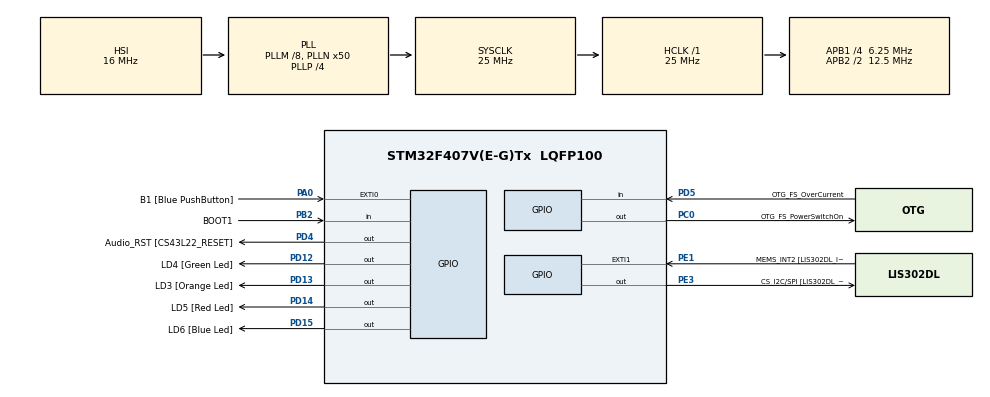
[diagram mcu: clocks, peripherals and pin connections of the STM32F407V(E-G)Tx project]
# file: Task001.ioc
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Mcu.Family=STM32F4
Mcu.Name=STM32F407V(E-G)Tx
Mcu.Package=LQFP100
NVIC.PriorityGroup=NVIC_PRIORITYGROUP_4
NVIC.TIM6_DAC_IRQn=true\:0\:0\:false\:false\:true\:false\:true\:true
NVIC.TimeBase=TIM6_DAC_IRQn
NVIC.TimeBaseIP=TIM6
PA0-WKUP.GPIO_Label=B1 [Blue PushButton]
PA0-WKUP.Signal=GPXTI0
PA10.GPIO_Label=OTG_FS_ID
PA10.GPIO_Mode=GPIO_MODE_AF_PP
PA10.GPIO_PuPd=GPIO_NOPULL
PA10.GPIO_Speed=GPIO_SPEED_FREQ_LOW
PA10.Signal=USB_OTG_FS_ID
PA11.GPIO_Label=OTG_FS_DM
PA11.GPIO_Mode=GPIO_MODE_AF_PP
PA11.GPIO_PuPd=GPIO_NOPULL
PA11.GPIO_Speed=GPIO_SPEED_FREQ_LOW
PA11.Signal=USB_OTG_FS_DM
PA12.GPIO_Label=OTG_FS_DP
PA12.GPIO_Mode=GPIO_MODE_AF_PP
PA12.GPIO_PuPd=GPIO_NOPULL
PA12.GPIO_Speed=GPIO_SPEED_FREQ_LOW
PA12.Signal=USB_OTG_FS_DP
PA13.GPIO_Label=SWDIO
PA13.Signal=SYS_JTMS-SWDIO
PA14.GPIO_Label=SWCLK
PA14.Signal=SYS_JTCK-SWCLK
PA4.GPIO_Label=I2S3_WS [CS43L22_LRCK]
PA4.GPIO_Mode=GPIO_MODE_AF_PP
PA4.GPIO_PuPd=GPIO_NOPULL
PA4.GPIO_Speed=GPIO_SPEED_FREQ_LOW
PA4.Signal=I2S3_WS
PA5.GPIO_Label=SPI1_SCK [LIS302DL_SCL/SPC]
PA5.GPIO_Mode=GPIO_MODE_AF_PP
PA5.GPIO_PuPd=GPIO_NOPULL
PA5.GPIO_Speed=GPIO_SPEED_FREQ_LOW
PA5.Signal=SPI1_SCK
PA6.GPIO_Label=SPI1_MISO [LIS302DL_SDO]
PA6.GPIO_Mode=GPIO_MODE_AF_PP
PA6.GPIO_PuPd=GPIO_NOPULL
PA6.GPIO_Speed=GPIO_SPEED_FREQ_LOW
PA6.Signal=SPI1_MISO
PA7.GPIO_Label=SPI1_MOSI [LIS302DL_SDA/SDI/SDO]
PA7.GPIO_Mode=GPIO_MODE_AF_PP
PA7.GPIO_PuPd=GPIO_NOPULL
PA7.GPIO_Speed=GPIO_SPEED_FREQ_LOW
PA7.Signal=SPI1_MOSI
PA9.GPIO_Label=VBUS_FS
PA9.GPIO_Mode=GPIO_MODE_INPUT
PA9.GPIO_PuPd=GPIO_NOPULL
PA9.Signal=USB_OTG_FS_VBUS
PB10.GPIO_Label=CLK_IN [MP45DT02_CLK]
PB10.GPIO_Mode=GPIO_MODE_AF_PP
PB10.GPIO_PuPd=GPIO_NOPULL
PB10.GPIO_Speed=GPIO_SPEED_FREQ_LOW
PB10.Signal=I2S2_CK
PB2.GPIO_Label=BOOT1
PB2.GPIO_Mode=GPIO_MODE_INPUT
PB2.GPIO_PuPd=GPIO_NOPULL
PB2.Signal=GPIO_Input
PB3.GPIO_Label=SWO
PB3.Signal=SYS_JTDO-SWO
PB6.GPIO_Label=Audio_SCL [CS43L22_SCL]
PB6.GPIO_Mode=GPIO_MODE_AF_OD
PB6.GPIO_PuPd=GPIO_NOPULL
PB6.GPIO_Speed=GPIO_SPEED_FREQ_LOW
PB6.Signal=I2C1_SCL
PB9.GPIO_Label=Audio_SDA [CS43L22_SDA]
PB9.GPIO_Mode=GPIO_MODE_AF_OD
PB9.GPIO_PuPd=GPIO_NOPULL
PB9.GPIO_Speed=GPIO_SPEED_FREQ_LOW
PB9.Signal=I2C1_SDA
PC0.GPIO_Label=OTG_FS_PowerSwitchOn
PC0.GPIO_PuPd=GPIO_NOPULL
PC0.GPIO_Speed=GPIO_SPEED_FREQ_LOW
PC0.PinState=GPIO_PIN_SET
PC0.Signal=GPIO_Output
PC10.GPIO_Label=I2S3_SCK [CS43L22_SCLK]
PC10.GPIO_Mode=GPIO_MODE_AF_PP
PC10.GPIO_PuPd=GPIO_NOPULL
PC10.GPIO_Speed=GPIO_SPEED_FREQ_LOW
PC10.Signal=I2S3_CK
PC12.GPIO_Label=I2S3_SD [CS43L22_SDIN]
PC12.GPIO_Mode=GPIO_MODE_AF_PP
PC12.GPIO_PuPd=GPIO_NOPULL
PC12.GPIO_Speed=GPIO_SPEED_FREQ_LOW
PC12.Signal=I2S3_SD
PC14-OSC32_IN.GPIO_Label=PC14-OSC32_IN
PC14-OSC32_IN.Signal=RCC_OSC32_IN
PC15-OSC32_OUT.GPIO_Label=PC15-OSC32_OUT
PC15-OSC32_OUT.Signal=RCC_OSC32_OUT
PC3.GPIO_Label=PDM_OUT [MP45DT02_DOUT]
PC3.GPIO_Mode=GPIO_MODE_AF_PP
PC3.GPIO_PuPd=GPIO_NOPULL
PC3.GPIO_Speed=GPIO_SPEED_FREQ_LOW
PC3.Signal=I2S2_SD
PC7.GPIO_Label=I2S3_MCK [CS43L22_MCLK]
PC7.GPIO_Mode=GPIO_MODE_AF_PP
PC7.GPIO_PuPd=GPIO_NOPULL
PC7.GPIO_Speed=GPIO_SPEED_FREQ_LOW
PC7.Signal=I2S3_MCK
PD12.GPIO_Label=LD4 [Green Led]
PD12.GPIO_PuPd=GPIO_NOPULL
PD12.GPIO_Speed=GPIO_SPEED_FREQ_LOW
PD12.Signal=GPIO_Output
PD13.GPIO_Label=LD3 [Orange Led]
PD13.GPIO_PuPd=GPIO_NOPULL
PD13.GPIO_Speed=GPIO_SPEED_FREQ_LOW
PD13.Signal=GPIO_Output
PD14.GPIO_Label=LD5 [Red Led]
PD14.GPIO_PuPd=GPIO_NOPULL
PD14.GPIO_Speed=GPIO_SPEED_FREQ_LOW
PD14.Signal=GPIO_Output
PD15.GPIO_Label=LD6 [Blue Led]
PD15.GPIO_PuPd=GPIO_NOPULL
PD15.GPIO_Speed=GPIO_SPEED_FREQ_LOW
PD15.Signal=GPIO_Output
PD4.GPIO_Label=Audio_RST [CS43L22_RESET]
PD4.GPIO_PuPd=GPIO_NOPULL
PD4.GPIO_Speed=GPIO_SPEED_FREQ_LOW
PD4.Signal=GPIO_Output
PD5.GPIO_Label=OTG_FS_OverCurrent
PD5.GPIO_Mode=GPIO_MODE_INPUT
PD5.GPIO_PuPd=GPIO_NOPULL
PD5.Signal=GPIO_Input
PE1.GPIO_Label=MEMS_INT2 [LIS302DL_INT2]
PE1.GPIO_ModeDefaultEXTI=GPIO_MODE_EVT_RISING
PE1.GPIO_PuPd=GPIO_NOPULL
PE1.Signal=GPXTI1
PE3.GPIO_Label=CS_I2C/SPI [LIS302DL_CS_I2C/SPI]
PE3.GPIO_PuPd=GPIO_NOPULL
PE3.GPIO_Speed=GPIO_SPEED_FREQ_LOW
PE3.Signal=GPIO_Output
PH0-OSC_IN.GPIO_Label=PH0-OSC_IN
PH0-OSC_IN.Signal=RCC_OSC_IN
PH1-OSC_OUT.GPIO_Label=PH1-OSC_OUT
PH1-OSC_OUT.Signal=RCC_OSC_OUT
ProjectManager.HeapSize=0x200
ProjectManager.StackSize=0x400
ProjectManager.TargetToolchain=STM32CubeIDE
RCC.48MHZClocksFreq_Value=14285714.285714285
RCC.AHBFreq_Value=25000000
RCC.APB1CLKDivider=RCC_HCLK_DIV4
RCC.APB1Freq_Value=6250000
RCC.APB1TimFreq_Value=12500000
RCC.APB2CLKDivider=RCC_HCLK_DIV2
RCC.APB2Freq_Value=12500000
RCC.APB2TimFreq_Value=25000000
RCC.CortexFreq_Value=25000000
RCC.HCLKFreq_Value=25000000
RCC.HSE_VALUE=8000000
RCC.HSI_VALUE=16000000
RCC.LSE_VALUE=32768
RCC.PLLM=8
RCC.PLLN=50
RCC.PLLP=RCC_PLLP_DIV4
RCC.PLLQ=7
RCC.SYSCLKFreq_VALUE=25000000
RCC.SYSCLKSource=RCC_SYSCLKSOURCE_PLLCLK
RCC.VCOOutputFreq_Value=100000000
VP_SYS_VS_tim6.Mode=TIM6
board=STM32F407G-DISC1

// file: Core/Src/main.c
/* USER CODE BEGIN Header */
/**
  ******************************************************************************
  * @file           : main.c
  * @brief          : Main program body
  ******************************************************************************
  * @attention
  *
  * Copyright (c) 2023 STMicroelectronics.
  * All rights reserved.
  *
  * This software is licensed under terms that can be found in the LICENSE file
  * in the root directory of this software component.
  * If no LICENSE file comes with this software, it is provided AS-IS.
  *
  ******************************************************************************
  */
/* USER CODE END Header */
#include "main.h"

/* USER CODE BEGIN Includes */
#include <stdio.h>
#include "FreeRTOS.h"
#include "task.h"
/* USER CODE END Includes */

void SystemClock_Config(void);
static void MX_GPIO_Init(void);
/* USER CODE BEGIN PFP */
  static void task1_handle(void *parameter);
  static void task2_handle(void *parameter);
/* USER CODE END PFP */

int main(void)
{
  /* USER CODE BEGIN 1 */
     TaskHandle_t task1_handler;
     TaskHandle_t task2_handler;
     BaseType_t status;
  /* USER CODE END 1 */

  /* MCU Configuration--------------------------------------------------------*/

  /* Reset of all peripherals, Initializes the Flash interface and the Systick. */
  HAL_Init();

  /* Configure the system clock */
  SystemClock_Config();

  /* Initialize all configured peripherals */
  MX_GPIO_Init();
  /* USER CODE BEGIN 2 */
     status = xTaskCreate(task1_handle, "Task-1", 200, "Hello Amiya from task-1", 2, &task1_handler);
     configASSERT(status == pdPASS);
     status = xTaskCreate(task2_handle, "Task-2", 200, "Hello Amiya from task-2", 2, &task2_handler);
     configASSERT(status == pdPASS);
     status = xTaskCreate(task2_handle, "Task-2", 200, "Hello Amiya from task-2", 2, &task2_handler);
     configASSERT(status == pdPASS);
     vTaskStartScheduler();
  /* USER CODE END 2 */

  /* Infinite loop */
  while (1)
  {

  }
}

void SystemClock_Config(void)
{
  RCC_OscInitTypeDef RCC_OscInitStruct = {0};
  RCC_ClkInitTypeDef RCC_ClkInitStruct = {0};

  /** Configure the main internal regulator output voltage
  */
  __HAL_RCC_PWR_CLK_ENABLE();
  __HAL_PWR_VOLTAGESCALING_CONFIG(PWR_REGULATOR_VOLTAGE_SCALE1);

  /** Initializes the RCC Oscillators according to the specified parameters
  * in the RCC_OscInitTypeDef structure.
  */
  RCC_OscInitStruct.OscillatorType = RCC_OSCILLATORTYPE_HSI;
  RCC_OscInitStruct.HSIState = RCC_HSI_ON;
  RCC_OscInitStruct.HSICalibrationValue = RCC_HSICALIBRATION_DEFAULT;
  RCC_OscInitStruct.PLL.PLLState = RCC_PLL_ON;
  RCC_OscInitStruct.PLL.PLLSource = RCC_PLLSOURCE_HSI;
  RCC_OscInitStruct.PLL.PLLM = 8;
  RCC_OscInitStruct.PLL.PLLN = 50;
  RCC_OscInitStruct.PLL.PLLP = RCC_PLLP_DIV4;
  RCC_OscInitStruct.PLL.PLLQ = 7;
  if (HAL_RCC_OscConfig(&RCC_OscInitStruct) != HAL_OK)
  {
    Error_Handler();
  }

  /** Initializes the CPU, AHB and APB buses clocks
  */
  RCC_ClkInitStruct.ClockType = RCC_CLOCKTYPE_HCLK|RCC_CLOCKTYPE_SYSCLK
                              |RCC_CLOCKTYPE_PCLK1|RCC_CLOCKTYPE_PCLK2;
  RCC_ClkInitStruct.SYSCLKSource = RCC_SYSCLKSOURCE_PLLCLK;
  RCC_ClkInitStruct.AHBCLKDivider = RCC_SYSCLK_DIV1;
  RCC_ClkInitStruct.APB1CLKDivider = RCC_HCLK_DIV4;
  RCC_ClkInitStruct.APB2CLKDivider = RCC_HCLK_DIV2;

  if (HAL_RCC_ClockConfig(&RCC_ClkInitStruct, FLASH_LATENCY_0) != HAL_OK)
  {
    Error_Handler();
  }
}

static void MX_GPIO_Init(void)
{
  GPIO_InitTypeDef GPIO_InitStruct = {0};

  /* GPIO Ports Clock Enable */
  __HAL_RCC_GPIOE_CLK_ENABLE();
  __HAL_RCC_GPIOC_CLK_ENABLE();
  __HAL_RCC_GPIOH_CLK_ENABLE();
  __HAL_RCC_GPIOA_CLK_ENABLE();
  __HAL_RCC_GPIOB_CLK_ENABLE();
  __HAL_RCC_GPIOD_CLK_ENABLE();

  /*Configure GPIO pin Output Level */
  HAL_GPIO_WritePin(CS_I2C_SPI_GPIO_Port, CS_I2C_SPI_Pin, GPIO_PIN_RESET);

  /*Configure GPIO pin Output Level */
  HAL_GPIO_WritePin(OTG_FS_PowerSwitchOn_GPIO_Port, OTG_FS_PowerSwitchOn_Pin, GPIO_PIN_SET);

  /*Configure GPIO pin Output Level */
  HAL_GPIO_WritePin(GPIOD, LD4_Pin|LD3_Pin|LD5_Pin|LD6_Pin
                          |Audio_RST_Pin, GPIO_PIN_RESET);

  /*Configure GPIO pin : CS_I2C_SPI_Pin */
  GPIO_InitStruct.Pin = CS_I2C_SPI_Pin;
  GPIO_InitStruct.Mode = GPIO_MODE_OUTPUT_PP;
  GPIO_InitStruct.Pull = GPIO_NOPULL;
  GPIO_InitStruct.Speed = GPIO_SPEED_FREQ_LOW;
  HAL_GPIO_Init(CS_I2C_SPI_GPIO_Port, &GPIO_InitStruct);

  /*Configure GPIO pin : OTG_FS_PowerSwitchOn_Pin */
  GPIO_InitStruct.Pin = OTG_FS_PowerSwitchOn_Pin;
  GPIO_InitStruct.Mode = GPIO_MODE_OUTPUT_PP;
  GPIO_InitStruct.Pull = GPIO_NOPULL;
  GPIO_InitStruct.Speed = GPIO_SPEED_FREQ_LOW;
  HAL_GPIO_Init(OTG_FS_PowerSwitchOn_GPIO_Port, &GPIO_InitStruct);

  /*Configure GPIO pin : PDM_OUT_Pin */
  GPIO_InitStruct.Pin = PDM_OUT_Pin;
  GPIO_InitStruct.Mode = GPIO_MODE_AF_PP;
  GPIO_InitStruct.Pull = GPIO_NOPULL;
  GPIO_InitStruct.Speed = GPIO_SPEED_FREQ_LOW;
  GPIO_InitStruct.Alternate = GPIO_AF5_SPI2;
  HAL_GPIO_Init(PDM_OUT_GPIO_Port, &GPIO_InitStruct);

  /*Configure GPIO pin : B1_Pin */
  GPIO_InitStruct.Pin = B1_Pin;
  GPIO_InitStruct.Mode = GPIO_MODE_IT_RISING;
  GPIO_InitStruct.Pull = GPIO_NOPULL;
  HAL_GPIO_Init(B1_GPIO_Port, &GPIO_InitStruct);

  /*Configure GPIO pin : I2S3_WS_Pin */
  GPIO_InitStruct.Pin = I2S3_WS_Pin;
  GPIO_InitStruct.Mode = GPIO_MODE_AF_PP;
  GPIO_InitStruct.Pull = GPIO_NOPULL;
  GPIO_InitStruct.Speed = GPIO_SPEED_FREQ_LOW;
  GPIO_InitStruct.Alternate = GPIO_AF6_SPI3;
  HAL_GPIO_Init(I2S3_WS_GPIO_Port, &GPIO_InitStruct);

  /*Configure GPIO pins : SPI1_SCK_Pin SPI1_MISO_Pin SPI1_MOSI_Pin */
  GPIO_InitStruct.Pin = SPI1_SCK_Pin|SPI1_MISO_Pin|SPI1_MOSI_Pin;
  GPIO_InitStruct.Mode = GPIO_MODE_AF_PP;
  GPIO_InitStruct.Pull = GPIO_NOPULL;
  GPIO_InitStruct.Speed = GPIO_SPEED_FREQ_LOW;
  GPIO_InitStruct.Alternate = GPIO_AF5_SPI1;
  HAL_GPIO_Init(GPIOA, &GPIO_InitStruct);

  /*Configure GPIO pin : BOOT1_Pin */
  GPIO_InitStruct.Pin = BOOT1_Pin;
  GPIO_InitStruct.Mode = GPIO_MODE_INPUT;
  GPIO_InitStruct.Pull = GPIO_NOPULL;
  HAL_GPIO_Init(BOOT1_GPIO_Port, &GPIO_InitStruct);

  /*Configure GPIO pin : CLK_IN_Pin */
  GPIO_InitStruct.Pin = CLK_IN_Pin;
  GPIO_InitStruct.Mode = GPIO_MODE_AF_PP;
  GPIO_InitStruct.Pull = GPIO_NOPULL;
  GPIO_InitStruct.Speed = GPIO_SPEED_FREQ_LOW;
  GPIO_InitStruct.Alternate = GPIO_AF5_SPI2;
  HAL_GPIO_Init(CLK_IN_GPIO_Port, &GPIO_InitStruct);

  /*Configure GPIO pins : LD4_Pin LD3_Pin LD5_Pin LD6_Pin
                           Audio_RST_Pin */
  GPIO_InitStruct.Pin = LD4_Pin|LD3_Pin|LD5_Pin|LD6_Pin
                          |Audio_RST_Pin;
  GPIO_InitStruct.Mode = GPIO_MODE_OUTPUT_PP;
  GPIO_InitStruct.Pull = GPIO_NOPULL;
  GPIO_InitStruct.Speed = GPIO_SPEED_FREQ_LOW;
  HAL_GPIO_Init(GPIOD, &GPIO_InitStruct);

  /*Configure GPIO pins : I2S3_MCK_Pin I2S3_SCK_Pin I2S3_SD_Pin */
  GPIO_InitStruct.Pin = I2S3_MCK_Pin|I2S3_SCK_Pin|I2S3_SD_Pin;
  GPIO_InitStruct.Mode = GPIO_MODE_AF_PP;
  GPIO_InitStruct.Pull = GPIO_NOPULL;
  GPIO_InitStruct.Speed = GPIO_SPEED_FREQ_LOW;
  GPIO_InitStruct.Alternate = GPIO_AF6_SPI3;
  HAL_GPIO_Init(GPIOC, &GPIO_InitStruct);

  /*Configure GPIO pin : VBUS_FS_Pin */
  GPIO_InitStruct.Pin = VBUS_FS_Pin;
  GPIO_InitStruct.Mode = GPIO_MODE_INPUT;
  GPIO_InitStruct.Pull = GPIO_NOPULL;
  HAL_GPIO_Init(VBUS_FS_GPIO_Port, &GPIO_InitStruct);

  /*Configure GPIO pins : OTG_FS_ID_Pin OTG_FS_DM_Pin OTG_FS_DP_Pin */
  GPIO_InitStruct.Pin = OTG_FS_ID_Pin|OTG_FS_DM_Pin|OTG_FS_DP_Pin;
  GPIO_InitStruct.Mode = GPIO_MODE_AF_PP;
  GPIO_InitStruct.Pull = GPIO_NOPULL;
  GPIO_InitStruct.Speed = GPIO_SPEED_FREQ_LOW;
  GPIO_InitStruct.Alternate = GPIO_AF10_OTG_FS;
  HAL_GPIO_Init(GPIOA, &GPIO_InitStruct);

  /*Configure GPIO pin : OTG_FS_OverCurrent_Pin */
  GPIO_InitStruct.Pin = OTG_FS_OverCurrent_Pin;
  GPIO_InitStruct.Mode = GPIO_MODE_INPUT;
  GPIO_InitStruct.Pull = GPIO_NOPULL;
  HAL_GPIO_Init(OTG_FS_OverCurrent_GPIO_Port, &GPIO_InitStruct);

  /*Configure GPIO pins : Audio_SCL_Pin Audio_SDA_Pin */
  GPIO_InitStruct.Pin = Audio_SCL_Pin|Audio_SDA_Pin;
  GPIO_InitStruct.Mode = GPIO_MODE_AF_OD;
  GPIO_InitStruct.Pull = GPIO_NOPULL;
  GPIO_InitStruct.Speed = GPIO_SPEED_FREQ_LOW;
  GPIO_InitStruct.Alternate = GPIO_AF4_I2C1;
  HAL_GPIO_Init(GPIOB, &GPIO_InitStruct);

  /*Configure GPIO pin : MEMS_INT2_Pin */
  GPIO_InitStruct.Pin = MEMS_INT2_Pin;
  GPIO_InitStruct.Mode = GPIO_MODE_EVT_RISING;
  GPIO_InitStruct.Pull = GPIO_NOPULL;
  HAL_GPIO_Init(MEMS_INT2_GPIO_Port, &GPIO_InitStruct);

}

/* USER CODE BEGIN 4 */
static void task1_handle(void *parameter)
{
	while(1)
	{
		printf("%s\n",(char*)parameter);
		taskYIELD();
	}
}
static void task2_handle(void *parameter)
{
	while(1)
	{
		printf("%s\n",(char*)parameter);
		taskYIELD();
	}
}
/* USER CODE END 4 */

void HAL_TIM_PeriodElapsedCallback(TIM_HandleTypeDef *htim)
{
  if (htim->Instance == TIM6) {
    HAL_IncTick();
  }
}

void Error_Handler(void)
{
  __disable_irq();
  while (1)
  {
  }
}
